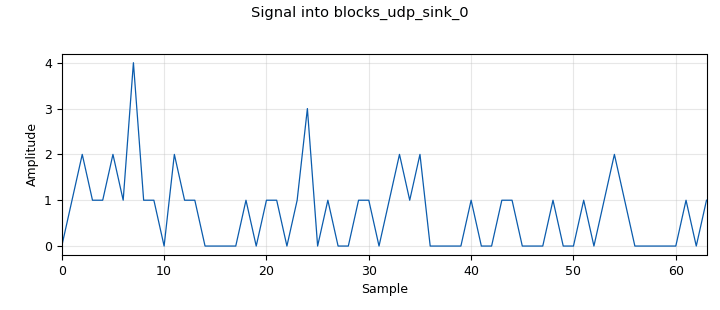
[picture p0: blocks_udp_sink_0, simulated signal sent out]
<?xml version='1.0' encoding='utf-8'?>
<?grc format='1' created='3.7.10'?>
<flow_graph>
<block>
<key>options</key>
<param><key>id</key><value>top_block</value></param>
<param><key>generate_options</key><value>qt_gui</value></param>
</block>
<block>
<key>variable_qtgui_range</key>
<param><key>id</key><value>center_frequency</value></param>
<param><key>value</key><value>882500000</value></param>
<param><key>orient</key><value>Qt.Horizontal</value></param>
<param><key>start</key><value>700000000</value></param>
<param><key>step</key><value>2048</value></param>
<param><key>stop</key><value>950000000</value></param>
</block>
<block>
<key>variable</key>
<param><key>id</key><value>samp_rate</value></param>
<param><key>value</key><value>2097152</value></param>
</block>
<block>
<key>variable</key>
<param><key>id</key><value>vector_length</value></param>
<param><key>value</key><value>8192</value></param>
</block>
<block>
<key>analog_fastnoise_source_x</key>
<param><key>id</key><value>analog_fastnoise_source_x_0</value></param>
<param><key>amp</key><value>0.01</value></param>
<param><key>noise_type</key><value>analog.GR_GAUSSIAN</value></param>
<param><key>type</key><value>complex</value></param>
<param><key>seed</key><value>0</value></param>
<param><key>samples</key><value>vector_length</value></param>
</block>
<block>
<key>blocks_complex_to_mag</key>
<param><key>id</key><value>blocks_complex_to_mag_0</value></param>
</block>
<block>
<key>blocks_float_to_int</key>
<param><key>id</key><value>blocks_float_to_int_0</value></param>
<param><key>scale</key><value>1</value></param>
</block>
<block>
<key>blocks_multiply_conjugate_cc</key>
<param><key>id</key><value>blocks_multiply_conjugate_cc_0</value></param>
<param><key>vlen</key><value>8192</value></param>
</block>
<block>
<key>blocks_stream_to_vector</key>
<param><key>id</key><value>blocks_stream_to_vector_0</value></param>
<param><key>type</key><value>complex</value></param>
<param><key>num_items</key><value>8192</value></param>
</block>
<block>
<key>blocks_udp_sink</key>
<param><key>id</key><value>blocks_udp_sink_0</value></param>
<param><key>ipaddr</key><value>127.0.0.1</value></param>
<param><key>port</key><value>24000</value></param>
<param><key>type</key><value>int</value></param>
<param><key>psize</key><value>1472</value></param>
<param><key>eof</key><value>True</value></param>
<param><key>vlen</key><value>1</value></param>
</block>
<block>
<key>blocks_vector_to_stream</key>
<param><key>id</key><value>correlation_vector_to_stream</value></param>
<param><key>type</key><value>complex</value></param>
<param><key>num_items</key><value>8192</value></param>
</block>
<block>
<key>fft_vxx</key>
<param><key>id</key><value>fft</value></param>
<param><key>fft_size</key><value>vector_length</value></param>
<param><key>forward</key><value>False</value></param>
<param><key>type</key><value>complex</value></param>
<param><key>shift</key><value>True</value></param>
<param><key>window</key><value>window.rectangular(vector_length)</value></param>
</block>
<connection><source_block_id>analog_fastnoise_source_x_0</source_block_id><sink_block_id>blocks_stream_to_vector_0</sink_block_id><source_key>0</source_key><sink_key>0</sink_key></connection>
<connection><source_block_id>blocks_complex_to_mag_0</source_block_id><sink_block_id>blocks_float_to_int_0</sink_block_id><source_key>0</source_key><sink_key>0</sink_key></connection>
<connection><source_block_id>blocks_float_to_int_0</source_block_id><sink_block_id>blocks_udp_sink_0</sink_block_id><source_key>0</source_key><sink_key>0</sink_key></connection>
<connection><source_block_id>blocks_multiply_conjugate_cc_0</source_block_id><sink_block_id>correlation_vector_to_stream</sink_block_id><source_key>0</source_key><sink_key>0</sink_key></connection>
<connection><source_block_id>blocks_stream_to_vector_0</source_block_id><sink_block_id>fft</sink_block_id><source_key>0</source_key><sink_key>0</sink_key></connection>
<connection><source_block_id>correlation_vector_to_stream</source_block_id><sink_block_id>blocks_complex_to_mag_0</sink_block_id><source_key>0</source_key><sink_key>0</sink_key></connection>
<connection><source_block_id>fft</source_block_id><sink_block_id>blocks_multiply_conjugate_cc_0</sink_block_id><source_key>0</source_key><sink_key>0</sink_key></connection>
<connection><source_block_id>fft</source_block_id><sink_block_id>blocks_multiply_conjugate_cc_0</sink_block_id><source_key>0</source_key><sink_key>1</sink_key></connection>
</flow_graph>
